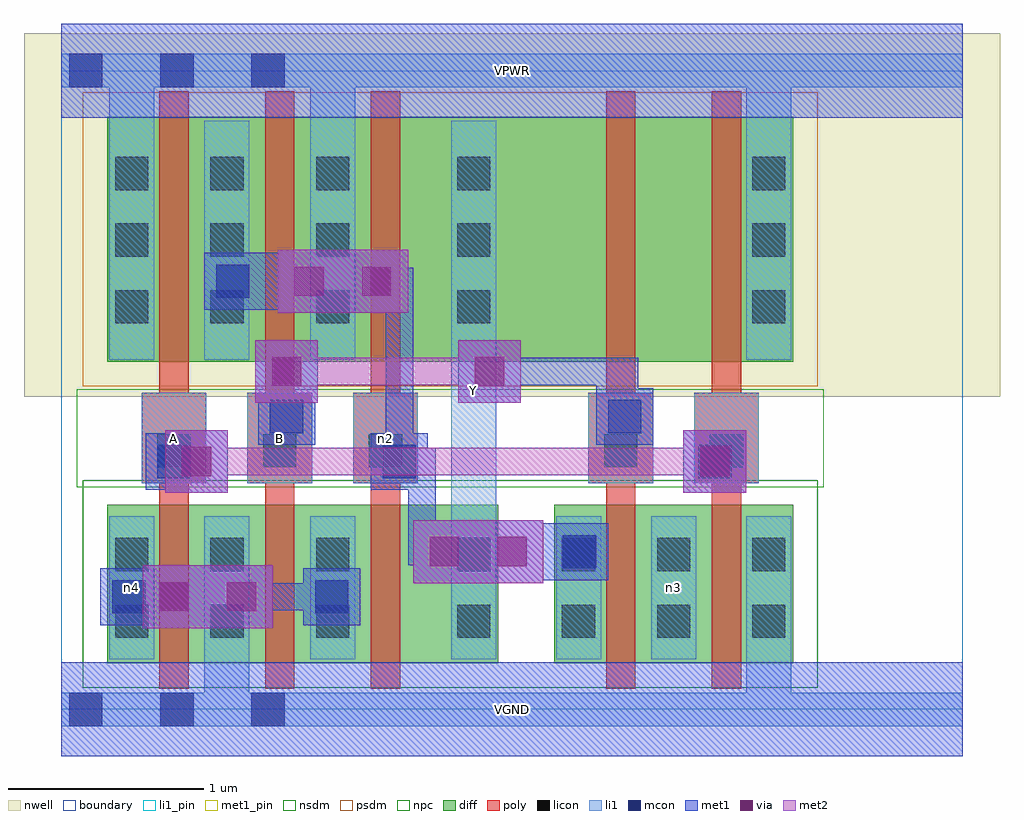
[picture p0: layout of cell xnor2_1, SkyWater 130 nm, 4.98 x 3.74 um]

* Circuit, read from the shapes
.subckt xnor2_1 A B VGND VPWR Y n2 n3 n4
XM1 VGND A n4 VSUBS sky130_fd_pr__nfet_01v8 w=0.81 l=0.15
XM2 n4 B VGND VSUBS sky130_fd_pr__nfet_01v8 w=0.81 l=0.15
XM3 Y n2 n4 VSUBS sky130_fd_pr__nfet_01v8 w=0.81 l=0.15
XM4 n3 B n2 VSUBS sky130_fd_pr__nfet_01v8 w=0.81 l=0.15
XM5 VGND A n3 VSUBS sky130_fd_pr__nfet_01v8 w=0.81 l=0.15
XM6 n2 A VPWR n1 sky130_fd_pr__pfet_01v8 w=1.25 l=0.15
XM7 VPWR B n2 n1 sky130_fd_pr__pfet_01v8 w=1.25 l=0.15
XM8 Y n2 VPWR n1 sky130_fd_pr__pfet_01v8 w=1.25 l=0.15
XM9 n5 B Y n1 sky130_fd_pr__pfet_01v8 w=1.25 l=0.15
XM10 VPWR A n5 n1 sky130_fd_pr__pfet_01v8 w=1.25 l=0.15
.ends

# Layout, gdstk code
import gdstk
lib = gdstk.Library(unit=1e-6, precision=1e-09)
def R(c, l, rs):  # rectangles x0, y0, x1, y1
    for r in rs: c.add(gdstk.rectangle(r[:2], r[2:], *l))
def A(c, l, x, y, w, h, nx, ny, dx, dy):  # array of equal rectangles
    R(c, l, [(x+i*dx, y+j*dy, x+i*dx+w, y+j*dy+h) for i in range(nx) for j in range(ny)])
nwell = (64, 20)
diff = (65, 20)
poly = (66, 20)
licon = (66, 44)
li1_pin = (67, 16)
li1 = (67, 20)
mcon = (67, 44)
met1_pin = (68, 16)
met1 = (68, 20)
via = (68, 44)
met2 = (69, 20)
nsdm = (93, 44)
psdm = (94, 20)
npc = (95, 20)
boundary = (235, 4)

xnor2_1 = lib.new_cell('xnor2_1')
R(xnor2_1, nwell, [(-0.19,1.595,4.79,3.45), (0,1.595,4.6,3.45)])
R(xnor2_1, diff, [(0.235,0.235,2.23,1.045), (2.515,0.235,3.735,1.045), (0.235,1.775,3.735,3.025)])
A(xnor2_1, poly, 0.5, 0.105, 0.15, 3.05, 3, 1, 0.54, 0)
A(xnor2_1, poly, 0.41, 1.155, 0.33, 0.46, 3, 1, 0.54, 0)
R(xnor2_1, poly, [(2.78,0.105,2.93,3.155), (3.32,0.105,3.47,3.155), (2.69,1.155,3.02,1.615), (3.23,1.155,3.56,1.615)])
A(xnor2_1, licon, 2.555, 0.365, 0.17, 0.17, 3, 2, 0.485, 0.34)
A(xnor2_1, licon, 0.49, 1.235, 0.17, 0.17, 3, 1, 0.54, 0)
A(xnor2_1, licon, 0.275, 1.97, 0.17, 0.17, 1, 3, 0, 0.34)
A(xnor2_1, licon, 0.76, 1.97, 0.17, 0.17, 1, 3, 0, 0.34)
A(xnor2_1, licon, 1.3, 1.97, 0.17, 0.17, 1, 3, 0, 0.34)
A(xnor2_1, licon, 2.02, 1.97, 0.17, 0.17, 1, 3, 0, 0.34)
A(xnor2_1, licon, 3.525, 1.97, 0.17, 0.17, 1, 3, 0, 0.34)
R(xnor2_1, licon, [(0.275,0.365,0.445,0.535), (0.76,0.365,0.93,0.535), (1.3,0.365,1.47,0.535), (2.02,0.365,2.19,0.535), (0.275,0.705,0.445,0.875), (0.76,0.705,0.93,0.875), (1.3,0.705,1.47,0.875), (2.02,0.705,2.19,0.875), (2.77,1.235,2.94,1.405), (3.31,1.235,3.48,1.405)])
R(xnor2_1, li1_pin, [(1.99,0.255,2.22,3.005), (0.41,1.155,0.74,1.615), (0.95,1.155,1.28,1.615)])
A(xnor2_1, li1, 0.41, 1.155, 0.33, 0.46, 3, 1, 0.54, 0)
R(xnor2_1, li1, [(0,-0.085,4.6,0.085), (0.73,-0.085,0.96,0.985), (3.495,-0.085,3.725,0.985), (0.245,0.255,0.475,0.985), (1.27,0.255,1.5,0.985), (1.99,0.255,2.22,3.005), (2.525,0.255,2.755,0.985), (3.01,0.255,3.24,0.985), (2.69,1.155,3.02,1.615), (3.23,1.155,3.56,1.615), (0.245,1.785,0.475,3.345), (0.73,1.785,0.96,3.005), (1.27,1.785,1.5,3.345), (3.495,1.785,3.725,3.345), (0,3.175,4.6,3.345)])
A(xnor2_1, mcon, 0.04, -0.085, 0.17, 0.17, 3, 2, 0.465, 3.26)
R(xnor2_1, mcon, [(0.26,0.49,0.43,0.66), (1.295,0.49,1.465,0.66), (2.56,0.72,2.73,0.89), (0.49,1.18,0.66,1.35), (1.64,1.18,1.81,1.35), (3.25,1.18,3.42,1.35), (1.065,1.41,1.235,1.58), (2.79,1.41,2.96,1.58), (0.79,2.1,0.96,2.27)])
R(xnor2_1, met1_pin, [(0,-0.24,4.6,0.24), (0,3.02,4.6,3.5)])
R(xnor2_1, met1, [(0,-0.24,4.6,0.24), (0.415,0.415,0.735,0.735), (0.735,0.415,0.76,0.735), (0.76,0.415,1.08,0.735), (0.2,0.43,0.49,0.72), (1.235,0.43,1.525,0.72), (0.275,0.505,0.645,0.645), (0.645,0.505,0.76,0.645), (0.735,0.505,0.85,0.645), (0.85,0.505,1.45,0.645), (1.795,0.645,2.115,0.965), (2.115,0.645,2.14,0.965), (2.14,0.645,2.46,0.965), (2.46,0.66,2.5,0.95), (2.5,0.66,2.79,0.95), (1.77,0.735,2.025,0.875), (1.77,0.735,1.91,1.335), (2.025,0.735,2.14,0.875), (2.115,0.735,2.23,0.875), (2.23,0.735,2.715,0.875), (0.53,1.105,0.85,1.425), (3.175,1.105,3.495,1.425), (0.43,1.12,0.72,1.41), (1.58,1.12,1.87,1.41), (3.19,1.12,3.48,1.41), (0.505,1.195,0.76,1.335), (1.655,1.195,1.91,1.335), (1.655,1.195,1.795,2.255), (1.005,1.35,1.295,1.64), (2.73,1.35,3.02,1.64), (1.08,1.425,1.22,1.795), (2.805,1.425,2.945,1.795), (0.99,1.565,1.31,1.885), (2.025,1.565,2.345,1.885), (2.73,1.64,2.945,1.655), (2.115,1.655,2.945,1.795), (1.105,2.025,1.425,2.345), (1.425,2.025,1.45,2.345), (1.45,2.025,1.77,2.345), (0.73,2.04,1.02,2.33), (1.02,2.04,1.105,2.33), (0.805,2.115,1.105,2.255), (0.965,2.115,1.335,2.255), (1.335,2.115,1.45,2.255), (1.425,2.115,1.54,2.255), (1.54,2.115,1.795,2.255), (0,3.02,4.6,3.5)])
R(xnor2_1, via, [(0.5,0.5,0.65,0.65), (0.845,0.5,0.995,0.65), (1.88,0.73,2.03,0.88), (2.225,0.73,2.375,0.88), (0.615,1.19,0.765,1.34), (3.26,1.19,3.41,1.34), (1.075,1.65,1.225,1.8), (2.11,1.65,2.26,1.8), (1.19,2.11,1.34,2.26), (1.535,2.11,1.685,2.26)])
R(xnor2_1, met2, [(0.415,0.415,0.735,0.735), (0.735,0.415,0.76,0.735), (0.76,0.415,1.08,0.735), (0.505,0.505,0.99,0.645), (1.795,0.645,2.115,0.965), (2.115,0.645,2.14,0.965), (2.14,0.645,2.46,0.965), (1.885,0.735,2.37,0.875), (0.53,1.105,0.85,1.425), (3.175,1.105,3.495,1.425), (0.62,1.195,3.405,1.335), (0.99,1.565,1.31,1.885), (2.025,1.565,2.345,1.885), (1.08,1.655,2.255,1.795), (1.105,2.025,1.425,2.345), (1.425,2.025,1.45,2.345), (1.45,2.025,1.77,2.345), (1.195,2.115,1.68,2.255)])
R(xnor2_1, nsdm, [(0.11,0.11,3.86,1.17)])
R(xnor2_1, psdm, [(0.11,1.65,3.86,3.15)])
R(xnor2_1, npc, [(0.08,1.135,3.89,1.635)])
R(xnor2_1, boundary, [(0,0,4.6,3.26)])
xnor2_1.add(gdstk.Label('A', (0.575,1.385), layer=67, texttype=5))
xnor2_1.add(gdstk.Label('B', (1.115,1.385), layer=67, texttype=5))
xnor2_1.add(gdstk.Label('Y', (2.105,1.63), layer=67, texttype=5))
xnor2_1.add(gdstk.Label('n2', (1.655,1.385), layer=67, texttype=5))
xnor2_1.add(gdstk.Label('n4', (0.36,0.62), layer=67, texttype=5))
xnor2_1.add(gdstk.Label('n3', (3.125,0.62), layer=67, texttype=5))
xnor2_1.add(gdstk.Label('VPWR', (2.3,3.26), layer=68, texttype=5))
xnor2_1.add(gdstk.Label('VGND', (2.3,0), layer=68, texttype=5))
xnor2_1.add(gdstk.Label('A', (0.575,1.385), layer=67, texttype=16))
xnor2_1.add(gdstk.Label('B', (1.115,1.385), layer=67, texttype=16))
xnor2_1.add(gdstk.Label('Y', (2.105,1.63), layer=67, texttype=16))
xnor2_1.add(gdstk.Label('VPWR', (2.3,3.26), layer=68, texttype=16))
xnor2_1.add(gdstk.Label('VGND', (2.3,0), layer=68, texttype=16))

lib.write_gds('xnor2_1.gds')
